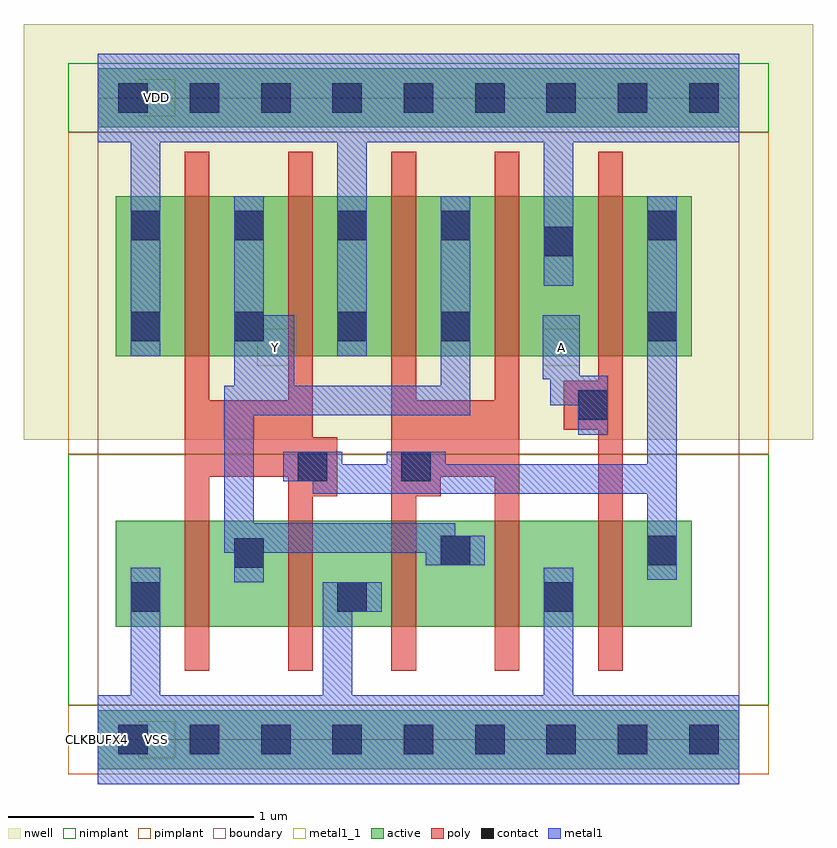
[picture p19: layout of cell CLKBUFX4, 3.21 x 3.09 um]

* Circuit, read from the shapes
.subckt CLKBUFX4 A VDD VSS Y
M1 Y n1 VSS VSS nfet w=0.43u l=0.1u m=4
M2 n1 A VSS VSS nfet w=0.43u l=0.1u
M3 Y n1 VDD VDD pfet w=0.65u l=0.1u m=4
M4 n1 A VDD VDD pfet w=0.65u l=0.1u
.ends

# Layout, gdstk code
import gdstk
lib = gdstk.Library(unit=1e-6, precision=5e-10)
def R(c, l, rs):  # rectangles x0, y0, x1, y1
    for r in rs: c.add(gdstk.rectangle(r[:2], r[2:], *l))
def A(c, l, x, y, w, h, nx, ny, dx, dy):  # array of equal rectangles
    R(c, l, [(x+i*dx, y+j*dy, x+i*dx+w, y+j*dy+h) for i in range(nx) for j in range(ny)])
active = (1, 0)
nwell = (2, 0)
poly = (3, 0)
nimplant = (4, 0)
pimplant = (5, 0)
contact = (6, 0)
metal1 = (7, 0)
metal1_1 = (7, 1)
boundary = (62, 0)

clkbufx4 = lib.new_cell('CLKBUFX4')
R(clkbufx4, active, [(0,-0.12,2.61,0.12), (0.075,0.46,2.415,0.89), (0.075,1.56,2.415,2.21), (0,2.49,2.61,2.73)])
R(clkbufx4, nwell, [(-0.3,1.22,2.91,2.91)])
A(clkbufx4, poly, 0.355, 1.38, 0.1, 1.01, 4, 1, 0.42, 0)
R(clkbufx4, poly, [(0.355,0.28,0.455,1.07), (0.775,0.28,0.875,0.99), (1.195,0.28,1.295,0.99), (1.615,0.28,1.715,1.07), (2.035,0.28,2.135,1.26), (0.775,0.99,0.975,1.07), (1.195,0.99,1.395,1.07), (0.355,1.07,0.975,1.23), (1.195,1.07,1.715,1.38), (0.355,1.23,0.875,1.38), (1.895,1.26,2.135,1.46), (2.035,1.46,2.135,2.39)])
R(clkbufx4, nimplant, [(-0.12,0.14,2.73,1.16), (-0.12,2.47,2.73,2.75)])
R(clkbufx4, pimplant, [(-0.12,-0.14,2.73,0.14), (-0.12,1.16,2.73,2.47)])
A(clkbufx4, contact, 0.085, -0.06, 0.12, 0.12, 9, 2, 0.29, 2.61)
A(clkbufx4, contact, 0.135, 0.52, 0.12, 0.12, 3, 1, 0.84, 0)
A(clkbufx4, contact, 0.135, 1.62, 0.12, 0.12, 4, 2, 0.42, 0.41)
R(clkbufx4, contact, [(0.555,0.7,0.675,0.82), (1.395,0.71,1.515,0.83), (2.235,0.71,2.355,0.83), (0.815,1.05,0.935,1.17), (1.235,1.05,1.355,1.17), (1.955,1.3,2.075,1.42), (2.235,1.62,2.355,1.74), (1.815,1.965,1.935,2.085), (2.235,2.03,2.355,2.15)])
R(clkbufx4, metal1, [(0,-0.18,2.61,0.18), (0.135,0.18,0.255,0.7), (0.915,0.18,1.035,0.52), (1.815,0.18,1.935,0.7), (0.915,0.52,1.155,0.64), (0.555,0.64,0.675,0.76), (2.235,0.65,2.355,1), (1.335,0.71,1.575,0.76), (0.515,0.76,1.575,0.83), (0.515,0.83,1.455,0.88), (0.515,0.88,0.635,1.32), (0.875,1,2.355,1.05), (0.755,1.05,2.355,1.12), (0.755,1.12,0.995,1.17), (1.175,1.12,1.415,1.17), (2.235,1.12,2.355,2.21), (1.955,1.24,2.075,1.36), (0.515,1.32,1.515,1.44), (1.84,1.36,2.075,1.465), (0.555,1.44,0.8,1.725), (1.395,1.44,1.515,2.21), (1.81,1.465,2.075,1.48), (1.81,1.48,1.96,1.725), (0.135,1.56,0.255,2.43), (0.975,1.56,1.095,2.43), (0.555,1.725,0.675,2.21), (1.815,1.845,1.935,2.43), (0,2.43,2.61,2.79)])
R(clkbufx4, metal1_1, [(0.165,-0.075,0.315,0.075), (0.65,1.52,0.8,1.67), (1.81,1.52,1.96,1.67), (0.165,2.535,0.315,2.685)])
R(clkbufx4, boundary, [(0,0,2.61,2.61)])
clkbufx4.add(gdstk.Label('CLKBUFX4', (0,0), layer=63, texttype=0))
clkbufx4.add(gdstk.Label('VSS', (0.24,0), layer=7, texttype=3))
clkbufx4.add(gdstk.Label('VDD', (0.24,2.61), layer=7, texttype=3))
clkbufx4.add(gdstk.Label('A', (1.885,1.595), layer=7, texttype=3))
clkbufx4.add(gdstk.Label('Y', (0.725,1.595), layer=7, texttype=3))

lib.write_gds('CLKBUFX4.gds')
